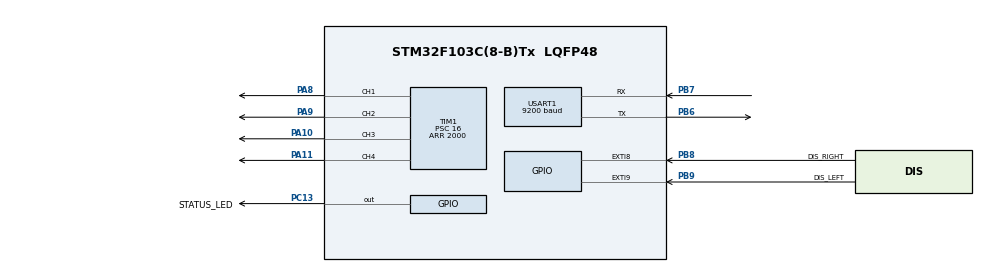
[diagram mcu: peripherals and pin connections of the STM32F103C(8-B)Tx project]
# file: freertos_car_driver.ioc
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FREERTOS.Tasks01=StatusLed,8,128,StartStatusLedTask,Default,NULL,Dynamic,NULL,NULL;DistanceSensor,24,256,StartDistanceSensorTask,Default,NULL,Dynamic,NULL,NULL;MotorController,32,256,StartMotorControllerTask,Default,NULL,Dynamic,NULL,NULL
Mcu.Family=STM32F1
Mcu.Name=STM32F103C(8-B)Tx
Mcu.Package=LQFP48
NVIC.PriorityGroup=NVIC_PRIORITYGROUP_4
NVIC.TIM4_IRQn=true\:0\:0\:false\:false\:true\:false\:false\:true
NVIC.TimeBase=TIM4_IRQn
NVIC.TimeBaseIP=TIM4
PA10.Signal=S_TIM1_CH3
PA11.Signal=S_TIM1_CH4
PA13.Mode=Serial_Wire
PA13.Signal=SYS_JTMS-SWDIO
PA14.Mode=Serial_Wire
PA14.Signal=SYS_JTCK-SWCLK
PA8.Signal=S_TIM1_CH1
PA9.Signal=S_TIM1_CH2
PB6.Mode=Asynchronous
PB6.Signal=USART1_TX
PB7.Mode=Asynchronous
PB7.Signal=USART1_RX
PB8.GPIO_Label=DIS_RIGHT
PB8.Signal=GPXTI8
PB9.GPIO_Label=DIS_LEFT
PB9.Signal=GPXTI9
PC13-TAMPER-RTC.GPIO_Label=STATUS_LED
PC13-TAMPER-RTC.Signal=GPIO_Output
PD0-OSC_IN.Mode=HSE-External-Oscillator
PD0-OSC_IN.Signal=RCC_OSC_IN
PD1-OSC_OUT.Mode=HSE-External-Oscillator
PD1-OSC_OUT.Signal=RCC_OSC_OUT
ProjectManager.HeapSize=0x200
ProjectManager.StackSize=0x400
ProjectManager.TargetToolchain=STM32CubeIDE
RCC.APB1Freq_Value=8000000
RCC.APB2Freq_Value=8000000
RCC.PLLSourceVirtual=RCC_PLLSOURCE_HSE
RCC.USBFreq_Value=16000000
SH.S_TIM1_CH1.0=TIM1_CH1,PWM Generation1 CH1
SH.S_TIM1_CH2.0=TIM1_CH2,PWM Generation2 CH2
SH.S_TIM1_CH3.0=TIM1_CH3,PWM Generation3 CH3
SH.S_TIM1_CH4.0=TIM1_CH4,PWM Generation4 CH4
TIM1.Channel-PWM\ Generation1\ CH1=TIM_CHANNEL_1
TIM1.Channel-PWM\ Generation2\ CH2=TIM_CHANNEL_2
TIM1.Channel-PWM\ Generation3\ CH3=TIM_CHANNEL_3
TIM1.Channel-PWM\ Generation4\ CH4=TIM_CHANNEL_4
TIM1.Period=2000
TIM1.Prescaler=16
TIM1.Pulse-PWM\ Generation1\ CH1=600
TIM1.Pulse-PWM\ Generation2\ CH2=600
TIM1.Pulse-PWM\ Generation3\ CH3=600
TIM1.Pulse-PWM\ Generation4\ CH4=600
USART1.BaudRate=9200
USART1.VirtualMode=VM_ASYNC
VP_FREERTOS_VS_CMSIS_V2.Mode=CMSIS_V2
VP_SYS_VS_tim4.Mode=TIM4
VP_TIM1_VS_ClockSourceINT.Mode=Internal
board=custom

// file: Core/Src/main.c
/* USER CODE BEGIN Header */
/**
  ******************************************************************************
  * @file           : main.c
  * @brief          : Main program body
  ******************************************************************************
  * @attention
  *
  * <h2><center>&copy; Copyright (c) 2020 STMicroelectronics.
  * All rights reserved.</center></h2>
  *
  * This software component is licensed by ST under BSD 3-Clause license,
  * the "License"; You may not use this file except in compliance with the
  * License. You may obtain a copy of the License at:
  *                        opensource.org/licenses/BSD-3-Clause
  *
  ******************************************************************************
  */
/* USER CODE END Header */

#include "main.h"
#include "cmsis_os.h"

/* USER CODE BEGIN Includes */
#include "bluetooth.h"
#include "Drivers/Motor.h"
/* USER CODE END Includes */

TIM_HandleTypeDef htim1;

UART_HandleTypeDef huart1;

/* Definitions for StatusLed */
osThreadId_t StatusLedHandle;
const osThreadAttr_t StatusLed_attributes = {
  .name = "StatusLed",
  .priority = (osPriority_t) osPriorityLow,
  .stack_size = 128 * 4
};
/* Definitions for DistanceSensor */
osThreadId_t DistanceSensorHandle;
const osThreadAttr_t DistanceSensor_attributes = {
  .name = "DistanceSensor",
  .priority = (osPriority_t) osPriorityNormal,
  .stack_size = 256 * 4
};
/* Definitions for MotorController */
osThreadId_t MotorControllerHandle;
const osThreadAttr_t MotorController_attributes = {
  .name = "MotorController",
  .priority = (osPriority_t) osPriorityAboveNormal,
  .stack_size = 256 * 4
};
/* USER CODE BEGIN PV */
struct Bluetooth bluetooth_uart;
struct MotorController motorController;
/* USER CODE END PV */

void SystemClock_Config(void);
static void MX_GPIO_Init(void);
static void MX_TIM1_Init(void);
static void MX_USART1_UART_Init(void);
void StartStatusLedTask(void *argument);
void StartDistanceSensorTask(void *argument);
void StartMotorControllerTask(void *argument);

int main(void)
{

  /* MCU Configuration--------------------------------------------------------*/

  /* Reset of all peripherals, Initializes the Flash interface and the Systick. */
  HAL_Init();

  /* Configure the system clock */
  SystemClock_Config();

  /* Initialize all configured peripherals */
  MX_GPIO_Init();
  MX_TIM1_Init();
  MX_USART1_UART_Init();
  /* USER CODE BEGIN 2 */
  BluetoothSetup(&bluetooth_uart, &huart1);
  /* USER CODE END 2 */

  /* Init scheduler */
  osKernelInitialize();

  /* Create the thread(s) */
  /* creation of StatusLed */
  StatusLedHandle = osThreadNew(StartStatusLedTask, NULL, &StatusLed_attributes);

  /* creation of DistanceSensor */
  DistanceSensorHandle = osThreadNew(StartDistanceSensorTask, NULL, &DistanceSensor_attributes);

  /* creation of MotorController */
  MotorControllerHandle = osThreadNew(StartMotorControllerTask, NULL, &MotorController_attributes);

  /* Start scheduler */
  osKernelStart();

  /* We should never get here as control is now taken by the scheduler */
  /* Infinite loop */
  while (1)
  {

  }
}

void SystemClock_Config(void)
{
  RCC_OscInitTypeDef RCC_OscInitStruct = {0};
  RCC_ClkInitTypeDef RCC_ClkInitStruct = {0};

  /** Initializes the CPU, AHB and APB busses clocks
  */
  RCC_OscInitStruct.OscillatorType = RCC_OSCILLATORTYPE_HSI;
  RCC_OscInitStruct.HSIState = RCC_HSI_ON;
  RCC_OscInitStruct.HSICalibrationValue = RCC_HSICALIBRATION_DEFAULT;
  RCC_OscInitStruct.PLL.PLLState = RCC_PLL_NONE;
  if (HAL_RCC_OscConfig(&RCC_OscInitStruct) != HAL_OK)
  {
    Error_Handler();
  }
  /** Initializes the CPU, AHB and APB busses clocks
  */
  RCC_ClkInitStruct.ClockType = RCC_CLOCKTYPE_HCLK|RCC_CLOCKTYPE_SYSCLK
                              |RCC_CLOCKTYPE_PCLK1|RCC_CLOCKTYPE_PCLK2;
  RCC_ClkInitStruct.SYSCLKSource = RCC_SYSCLKSOURCE_HSI;
  RCC_ClkInitStruct.AHBCLKDivider = RCC_SYSCLK_DIV1;
  RCC_ClkInitStruct.APB1CLKDivider = RCC_HCLK_DIV1;
  RCC_ClkInitStruct.APB2CLKDivider = RCC_HCLK_DIV1;

  if (HAL_RCC_ClockConfig(&RCC_ClkInitStruct, FLASH_LATENCY_0) != HAL_OK)
  {
    Error_Handler();
  }
}

static void MX_TIM1_Init(void)
{

  TIM_ClockConfigTypeDef sClockSourceConfig = {0};
  TIM_MasterConfigTypeDef sMasterConfig = {0};
  TIM_OC_InitTypeDef sConfigOC = {0};
  TIM_BreakDeadTimeConfigTypeDef sBreakDeadTimeConfig = {0};

  htim1.Instance = TIM1;
  htim1.Init.Prescaler = 16;
  htim1.Init.CounterMode = TIM_COUNTERMODE_UP;
  htim1.Init.Period = 2000;
  htim1.Init.ClockDivision = TIM_CLOCKDIVISION_DIV1;
  htim1.Init.RepetitionCounter = 0;
  htim1.Init.AutoReloadPreload = TIM_AUTORELOAD_PRELOAD_DISABLE;
  if (HAL_TIM_Base_Init(&htim1) != HAL_OK)
  {
    Error_Handler();
  }
  sClockSourceConfig.ClockSource = TIM_CLOCKSOURCE_INTERNAL;
  if (HAL_TIM_ConfigClockSource(&htim1, &sClockSourceConfig) != HAL_OK)
  {
    Error_Handler();
  }
  if (HAL_TIM_PWM_Init(&htim1) != HAL_OK)
  {
    Error_Handler();
  }
  sMasterConfig.MasterOutputTrigger = TIM_TRGO_RESET;
  sMasterConfig.MasterSlaveMode = TIM_MASTERSLAVEMODE_DISABLE;
  if (HAL_TIMEx_MasterConfigSynchronization(&htim1, &sMasterConfig) != HAL_OK)
  {
    Error_Handler();
  }
  sConfigOC.OCMode = TIM_OCMODE_PWM1;
  sConfigOC.Pulse = 600;
  sConfigOC.OCPolarity = TIM_OCPOLARITY_HIGH;
  sConfigOC.OCNPolarity = TIM_OCNPOLARITY_HIGH;
  sConfigOC.OCFastMode = TIM_OCFAST_DISABLE;
  sConfigOC.OCIdleState = TIM_OCIDLESTATE_RESET;
  sConfigOC.OCNIdleState = TIM_OCNIDLESTATE_RESET;
  if (HAL_TIM_PWM_ConfigChannel(&htim1, &sConfigOC, TIM_CHANNEL_1) != HAL_OK)
  {
    Error_Handler();
  }
  if (HAL_TIM_PWM_ConfigChannel(&htim1, &sConfigOC, TIM_CHANNEL_2) != HAL_OK)
  {
    Error_Handler();
  }
  if (HAL_TIM_PWM_ConfigChannel(&htim1, &sConfigOC, TIM_CHANNEL_3) != HAL_OK)
  {
    Error_Handler();
  }
  if (HAL_TIM_PWM_ConfigChannel(&htim1, &sConfigOC, TIM_CHANNEL_4) != HAL_OK)
  {
    Error_Handler();
  }
  sBreakDeadTimeConfig.OffStateRunMode = TIM_OSSR_DISABLE;
  sBreakDeadTimeConfig.OffStateIDLEMode = TIM_OSSI_DISABLE;
  sBreakDeadTimeConfig.LockLevel = TIM_LOCKLEVEL_OFF;
  sBreakDeadTimeConfig.DeadTime = 0;
  sBreakDeadTimeConfig.BreakState = TIM_BREAK_DISABLE;
  sBreakDeadTimeConfig.BreakPolarity = TIM_BREAKPOLARITY_HIGH;
  sBreakDeadTimeConfig.AutomaticOutput = TIM_AUTOMATICOUTPUT_DISABLE;
  if (HAL_TIMEx_ConfigBreakDeadTime(&htim1, &sBreakDeadTimeConfig) != HAL_OK)
  {
    Error_Handler();
  }
  HAL_TIM_MspPostInit(&htim1);

}

static void MX_USART1_UART_Init(void)
{

  huart1.Instance = USART1;
  huart1.Init.BaudRate = 9200;
  huart1.Init.WordLength = UART_WORDLENGTH_8B;
  huart1.Init.StopBits = UART_STOPBITS_1;
  huart1.Init.Parity = UART_PARITY_NONE;
  huart1.Init.Mode = UART_MODE_TX_RX;
  huart1.Init.HwFlowCtl = UART_HWCONTROL_NONE;
  huart1.Init.OverSampling = UART_OVERSAMPLING_16;
  if (HAL_UART_Init(&huart1) != HAL_OK)
  {
    Error_Handler();
  }

}

static void MX_GPIO_Init(void)
{
  GPIO_InitTypeDef GPIO_InitStruct = {0};

  /* GPIO Ports Clock Enable */
  __HAL_RCC_GPIOC_CLK_ENABLE();
  __HAL_RCC_GPIOD_CLK_ENABLE();
  __HAL_RCC_GPIOA_CLK_ENABLE();
  __HAL_RCC_GPIOB_CLK_ENABLE();

  /*Configure GPIO pin Output Level */
  HAL_GPIO_WritePin(STATUS_LED_GPIO_Port, STATUS_LED_Pin, GPIO_PIN_RESET);

  /*Configure GPIO pin : STATUS_LED_Pin */
  GPIO_InitStruct.Pin = STATUS_LED_Pin;
  GPIO_InitStruct.Mode = GPIO_MODE_OUTPUT_PP;
  GPIO_InitStruct.Pull = GPIO_NOPULL;
  GPIO_InitStruct.Speed = GPIO_SPEED_FREQ_LOW;
  HAL_GPIO_Init(STATUS_LED_GPIO_Port, &GPIO_InitStruct);

  /*Configure GPIO pins : DIS_RIGHT_Pin DIS_LEFT_Pin */
  GPIO_InitStruct.Pin = DIS_RIGHT_Pin|DIS_LEFT_Pin;
  GPIO_InitStruct.Mode = GPIO_MODE_IT_RISING;
  GPIO_InitStruct.Pull = GPIO_NOPULL;
  HAL_GPIO_Init(GPIOB, &GPIO_InitStruct);

}

void StartStatusLedTask(void *argument)
{
  /* USER CODE BEGIN 5 */
  /* Infinite loop */
  for(;;)
  {
    osDelay(1000);
    BluetoothSendMessage(&bluetooth_uart, BT_TOPIC_DEBUG, BT_MSG_PING);
    HAL_GPIO_TogglePin(STATUS_LED_GPIO_Port, STATUS_LED_Pin);
  }
  /* USER CODE END 5 */
}

void StartDistanceSensorTask(void *argument)
{
  /* USER CODE BEGIN StartDistanceSensorTask */

  /* Infinite loop */
  for(;;)
  {
    osDelay(250);
  }
  /* USER CODE END StartDistanceSensorTask */
}

void StartMotorControllerTask(void *argument)
{
  /* USER CODE BEGIN StartMotorControllerTask */
	Motor_Init(&motorController, &htim1);
	Motor_Forward(&motorController);
	Motor_Stop(&motorController);
	uint8_t temp = 1;
  /* Infinite loop */
  for(;;)
  {
	  BluetoothSendMessage(&bluetooth_uart, BT_TOPIC_DEBUG, "motor_ping");
	  if(temp == 0){
		  temp += 1;
		  Motor_Forward(&motorController);
	  }else if(temp == 1){
		  temp += 1;
		  Motor_Backward(&motorController);
	  }else{
		  temp = 0;
		  Motor_Stop(&motorController);
	  }
    osDelay(1500);
  }
  /* USER CODE END StartMotorControllerTask */
}

 /**
  * @brief  Period elapsed callback in non blocking mode
  * @note   This function is called  when TIM4 interrupt took place, inside
  * HAL_TIM_IRQHandler(). It makes a direct call to HAL_IncTick() to increment
  * a global variable "uwTick" used as application time base.
  * @param  htim : TIM handle
  * @retval None
  */
void HAL_TIM_PeriodElapsedCallback(TIM_HandleTypeDef *htim)
{
  if (htim->Instance == TIM4) {
    HAL_IncTick();
  }
}

void Error_Handler(void)
{
}

/************************ (C) COPYRIGHT STMicroelectronics *****END OF FILE****/
